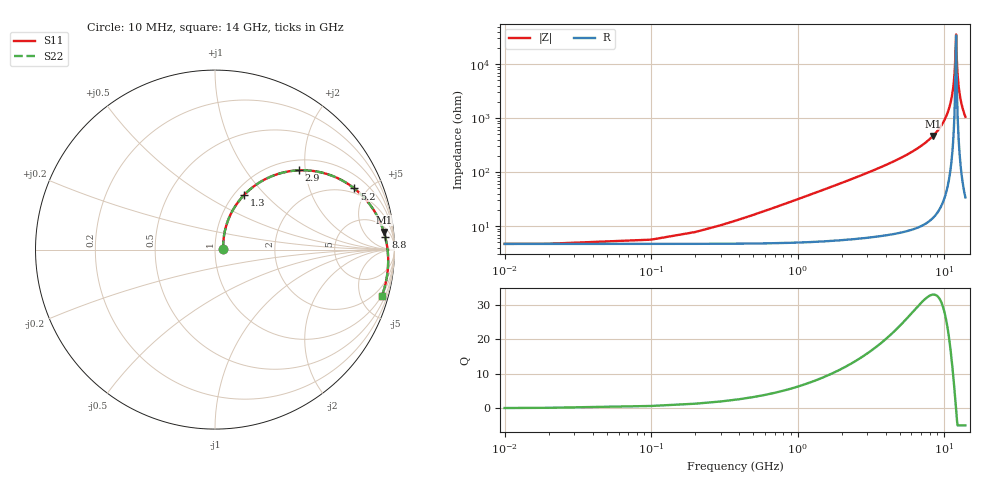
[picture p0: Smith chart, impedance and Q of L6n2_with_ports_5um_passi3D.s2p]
#  GHZ S DB R 50.0
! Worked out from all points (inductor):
!   142 points, 10 MHz to 14 GHz, reference 50 ohm
!   read as one part in series: L = 4.92 nH near 500 MHz
!   highest Q = 33 at 8.4 GHz (marker M1), where L = 8.85 nH
!   self-resonance near 12 GHz
!   S11 on the Smith chart (normalised r, x): 10 MHz: 1.09, +0.01; 1.3 GHz: 1.11, +0.77; 2.9 GHz: 1.22, +1.84; 5.2 GHz: 1.69, +4.10; 8.8 GHz: 13, +19; 14 GHz: 0.96, -7.18
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0.01  -26.97 3.3  -0.40 -0.2  -0.40 -0.2  -26.97 3.3
0.6  -15.41 65.8  -0.58 -10.7  -0.58 -10.7  -15.42 65.8
1.3  -9.19 61.8  -1.10 -22.1  -1.10 -22.1  -9.19 61.8
2.4  -4.92 48.9  -2.37 -37.5  -2.37 -37.5  -4.92 48.9
2.9  -3.84 43.4  -3.08 -43.5  -3.08 -43.5  -3.84 43.4
4.7  -1.75 27.3  -5.99 -60.5  -5.99 -60.5  -1.75 27.3
5.2  -1.44 23.7  -6.88 -64.3  -6.88 -64.3  -1.44 23.7
7.1  -0.72 12.3  -10.63 -76.0  -10.63 -76.0  -0.73 12.3
8.4  -0.48 5.9  -13.79 -82.4  -13.79 -82.4  -0.48 5.9
8.8  -0.43 4.1  -14.94 -84.2  -14.94 -84.2  -0.43 4.1
9.4  -0.37 1.5  -16.90 -86.7  -16.90 -86.7  -0.37 1.5
10.9  -0.28 -4.5  -24.45 -91.5  -24.45 -91.5  -0.29 -4.5
11.4  -0.27 -6.4  -29.33 -91.6  -29.33 -91.6  -0.27 -6.4
11.7  -0.27 -7.5  -34.36 -89.3  -34.36 -89.3  -0.27 -7.5
11.9  -0.27 -8.2  -40.54 -81.8  -40.54 -81.8  -0.27 -8.2
12.1  -0.27 -8.9  -51.35 8.3  -51.35 8.3  -0.27 -8.9
12.2  -0.27 -9.3  -44.12 56.4  -44.12 56.4  -0.27 -9.3
12.3  -0.27 -9.6  -39.32 66.8  -39.32 66.8  -0.27 -9.7
12.4  -0.27 -10.0  -36.17 70.7  -36.17 70.7  -0.27 -10.0
12.6  -0.27 -10.7  -32.03 73.6  -32.03 73.6  -0.27 -10.7
13.2  -0.28 -12.8  -25.49 74.6  -25.49 74.6  -0.28 -12.8
14  -0.31 -15.6  -20.95 72.8  -20.95 72.8  -0.31 -15.6
